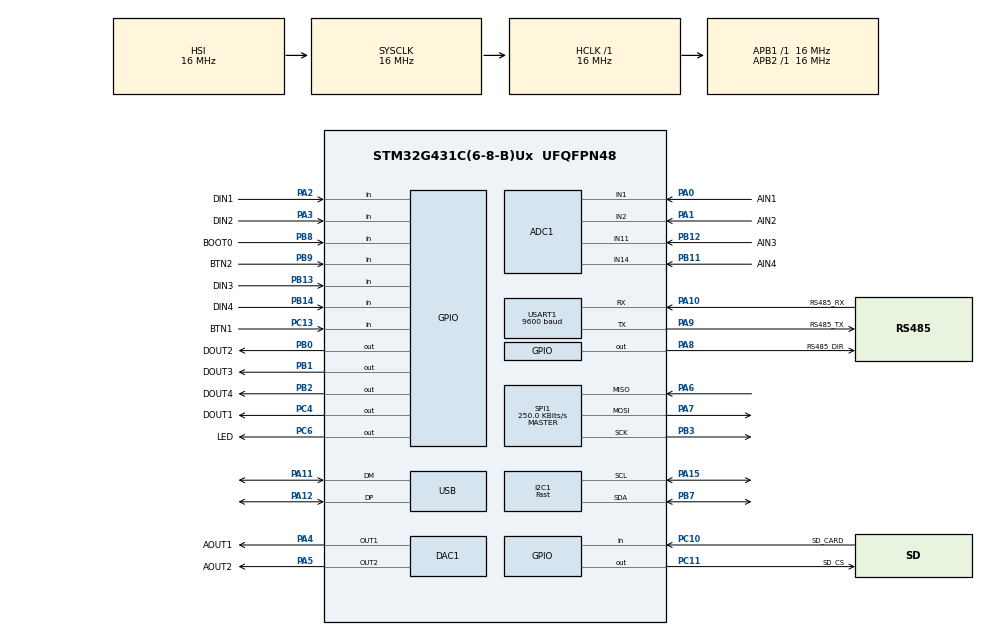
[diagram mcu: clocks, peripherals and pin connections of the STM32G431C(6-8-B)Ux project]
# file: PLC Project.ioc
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ADC1.Channel-0\#ChannelRegularConversion=ADC_CHANNEL_1
ADC1.NbrOfConversionFlag=1
ADC1.OffsetNumber-0\#ChannelRegularConversion=ADC_OFFSET_NONE
ADC1.Rank-0\#ChannelRegularConversion=1
ADC1.SamplingTime-0\#ChannelRegularConversion=ADC_SAMPLETIME_2CYCLES_5
ADC1.master=1
DAC1.DAC_Channel-DAC_OUT2=DAC_CHANNEL_2
Dma.Request0=USART1_RX
Dma.Request1=USART1_TX
Dma.USART1_RX.0.Direction=DMA_PERIPH_TO_MEMORY
Dma.USART1_RX.0.EventEnable=DISABLE
Dma.USART1_RX.0.Instance=DMA1_Channel1
Dma.USART1_RX.0.MemDataAlignment=DMA_MDATAALIGN_BYTE
Dma.USART1_RX.0.MemInc=DMA_MINC_ENABLE
Dma.USART1_RX.0.Mode=DMA_NORMAL
Dma.USART1_RX.0.PeriphDataAlignment=DMA_PDATAALIGN_BYTE
Dma.USART1_RX.0.PeriphInc=DMA_PINC_DISABLE
Dma.USART1_RX.0.Polarity=HAL_DMAMUX_REQ_GEN_RISING
Dma.USART1_RX.0.Priority=DMA_PRIORITY_LOW
Dma.USART1_RX.0.RequestNumber=1
Dma.USART1_RX.0.SignalID=NONE
Dma.USART1_RX.0.SyncEnable=DISABLE
Dma.USART1_RX.0.SyncPolarity=HAL_DMAMUX_SYNC_NO_EVENT
Dma.USART1_RX.0.SyncRequestNumber=1
Dma.USART1_RX.0.SyncSignalID=NONE
Dma.USART1_TX.1.Direction=DMA_MEMORY_TO_PERIPH
Dma.USART1_TX.1.EventEnable=DISABLE
Dma.USART1_TX.1.Instance=DMA1_Channel2
Dma.USART1_TX.1.MemDataAlignment=DMA_MDATAALIGN_BYTE
Dma.USART1_TX.1.MemInc=DMA_MINC_ENABLE
Dma.USART1_TX.1.Mode=DMA_NORMAL
Dma.USART1_TX.1.PeriphDataAlignment=DMA_PDATAALIGN_BYTE
Dma.USART1_TX.1.PeriphInc=DMA_PINC_DISABLE
Dma.USART1_TX.1.Polarity=HAL_DMAMUX_REQ_GEN_RISING
Dma.USART1_TX.1.Priority=DMA_PRIORITY_LOW
Dma.USART1_TX.1.RequestNumber=1
Dma.USART1_TX.1.SignalID=NONE
Dma.USART1_TX.1.SyncEnable=DISABLE
Dma.USART1_TX.1.SyncPolarity=HAL_DMAMUX_SYNC_NO_EVENT
Dma.USART1_TX.1.SyncRequestNumber=1
Dma.USART1_TX.1.SyncSignalID=NONE
FATFS._MAX_LFN=255
FATFS._USE_LFN=1
I2C1.CustomTiming=Disabled
I2C1.I2C_Speed_Mode=I2C_Fast
I2C1.Timing=0x00300617
Mcu.Family=STM32G4
Mcu.Name=STM32G431C(6-8-B)Ux
Mcu.Package=UFQFPN48
NVIC.DMA1_Channel1_IRQn=true\:0\:0\:false\:false\:true\:false\:true\:true
NVIC.DMA1_Channel2_IRQn=true\:0\:0\:false\:false\:true\:false\:true\:true
NVIC.PriorityGroup=NVIC_PRIORITYGROUP_4
NVIC.USART1_IRQn=true\:0\:0\:false\:false\:true\:true\:true\:true
NVIC.USB_LP_IRQn=true\:0\:0\:false\:false\:true\:false\:true\:true
PA0.GPIO_Label=AIN1
PA0.Mode=IN1-Single-Ended
PA0.Signal=ADC1_IN1
PA1.GPIO_Label=AIN2
PA1.Mode=IN2-Single-Ended
PA1.Signal=ADC1_IN2
PA10.GPIO_Label=RS485_RX
PA10.Mode=Asynchronous
PA10.Signal=USART1_RX
PA11.Mode=Device
PA11.Signal=USB_DM
PA12.Mode=Device
PA12.Signal=USB_DP
PA15.Mode=I2C
PA15.Signal=I2C1_SCL
PA2.GPIO_Label=DIN1
PA2.GPIO_PuPd=GPIO_NOPULL
PA2.Signal=GPIO_Input
PA3.GPIO_Label=DIN2
PA3.GPIO_PuPd=GPIO_NOPULL
PA3.Signal=GPIO_Input
PA4.GPIO_Label=AOUT1
PA4.Signal=COMP_DAC11_group
PA5.GPIO_Label=AOUT2
PA5.Signal=COMP_DAC12_group
PA6.Mode=Full_Duplex_Master
PA6.Signal=SPI1_MISO
PA7.Mode=Full_Duplex_Master
PA7.Signal=SPI1_MOSI
PA8.GPIO_Label=RS485_DIR
PA8.Signal=GPIO_Output
PA9.GPIO_Label=RS485_TX
PA9.Mode=Asynchronous
PA9.Signal=USART1_TX
PB0.GPIO_Label=DOUT2
PB0.Signal=GPIO_Output
PB1.GPIO_Label=DOUT3
PB1.Signal=GPIO_Output
PB11.GPIO_Label=AIN4
PB11.Mode=IN14-Single-Ended
PB11.Signal=ADC1_IN14
PB12.GPIO_Label=AIN3
PB12.Mode=IN11-Single-Ended
PB12.Signal=ADC1_IN11
PB13.GPIO_Label=DIN3
PB13.GPIO_PuPd=GPIO_NOPULL
PB13.Signal=GPIO_Input
PB14.GPIO_Label=DIN4
PB14.GPIO_PuPd=GPIO_NOPULL
PB14.Signal=GPIO_Input
PB2.GPIO_Label=DOUT4
PB2.Signal=GPIO_Output
PB3.Mode=Full_Duplex_Master
PB3.Signal=SPI1_SCK
PB7.Mode=I2C
PB7.Signal=I2C1_SDA
PB8-BOOT0.GPIO_Label=BOOT0
PB8-BOOT0.Signal=GPIO_Input
PB9.GPIO_Label=BTN2
PB9.GPIO_PuPd=GPIO_PULLDOWN
PB9.Signal=GPIO_Input
PC10.GPIO_Label=SD_CARD
PC10.GPIO_PuPd=GPIO_PULLUP
PC10.Signal=GPIO_Input
PC11.GPIO_Label=SD_CS
PC11.Signal=GPIO_Output
PC13.GPIO_Label=BTN1
PC13.GPIO_PuPd=GPIO_PULLDOWN
PC13.Signal=GPIO_Input
PC4.GPIO_Label=DOUT1
PC4.Signal=GPIO_Output
PC6.GPIO_Label=LED
PC6.Signal=GPIO_Output
ProjectManager.HeapSize=0x200
ProjectManager.StackSize=0x400
ProjectManager.TargetToolchain=STM32CubeIDE
RCC.AHBFreq_Value=16000000
RCC.APB1Freq_Value=16000000
RCC.APB1TimFreq_Value=16000000
RCC.APB2Freq_Value=16000000
RCC.APB2TimFreq_Value=16000000
RCC.CortexFreq_Value=16000000
RCC.EXTERNAL_CLOCK_VALUE=12288000
RCC.HCLKFreq_Value=16000000
RCC.HSE_VALUE=8000000
RCC.HSI48_VALUE=48000000
RCC.HSI_VALUE=16000000
RCC.LSE_VALUE=32768
RCC.PLLN=12
RCC.PLLQ=RCC_PLLQ_DIV4
RCC.SYSCLKFreq_VALUE=16000000
RCC.USBFreq_Value=48000000
RCC.VCOOutputFreq_Value=192000000
SH.COMP_DAC11_group.0=DAC1_OUT1,DAC_OUT1
SH.COMP_DAC12_group.0=DAC1_OUT2,DAC_OUT2
SPI1.BaudRatePrescaler=SPI_BAUDRATEPRESCALER_64
SPI1.CalculateBaudRate=250.0 KBits/s
SPI1.DataSize=SPI_DATASIZE_8BIT
SPI1.Direction=SPI_DIRECTION_2LINES
SPI1.Mode=SPI_MODE_MASTER
SPI1.VirtualType=VM_MASTER
USART1.BaudRate=9600
USART1.StopBits=STOPBITS_2
USART1.VirtualMode-Asynchronous=VM_ASYNC
USB_DEVICE.CLASS_NAME_FS=CDC
USB_DEVICE.VirtualMode=Cdc
USB_DEVICE.VirtualModeFS=Cdc_FS
VP_FATFS_VS_Generic.Mode=User_defined
VP_SYS_VS_DBSignals.Mode=DisableDeadBatterySignals
VP_USB_DEVICE_VS_USB_DEVICE_CDC_FS.Mode=CDC_FS
board=custom

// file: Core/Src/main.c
/* USER CODE BEGIN Header */
/**
  ******************************************************************************
  * @file           : main.c
  * @brief          : Main program body
  ******************************************************************************
  * @attention
  *
  * Copyright (c) 2025 STMicroelectronics.
  * All rights reserved.
  *
  * This software is licensed under terms that can be found in the LICENSE file
  * in the root directory of this software component.
  * If no LICENSE file comes with this software, it is provided AS-IS.
  *
  ******************************************************************************
  */
/* USER CODE END Header */
#include "main.h"
#include "app_fatfs.h"
#include "usb_device.h"

/* USER CODE BEGIN Includes */
#include <stdio.h>
#include "rtc/rtc_ds3231.h"
#include "automation/automation.h"
#include "rs485/rs485.h"
#include "i2c/display.h"
#include "i2c/i2c.h"
#include "i2c/ina226.h"
#include "i2c/bmp280.h"
#include "sd/sd.h"
#include "io/io_modbus_slaves.h"
#include "io/io_emergency.h"
#include "i2c/eeprom_utils.h"
#include "splash_screens/splash_boot.h"
//#include "sensors/dht11.h"
/* USER CODE END Includes */

ADC_HandleTypeDef hadc1;

DAC_HandleTypeDef hdac1;

I2C_HandleTypeDef hi2c1;

SPI_HandleTypeDef hspi1;

UART_HandleTypeDef huart1;
DMA_HandleTypeDef hdma_usart1_rx;
DMA_HandleTypeDef hdma_usart1_tx;

void SystemClock_Config(void);
static void MX_GPIO_Init(void);
static void MX_DMA_Init(void);
static void MX_I2C1_Init(void);
static void MX_USART1_UART_Init(void);
static void MX_ADC1_Init(void);
static void MX_DAC1_Init(void);
static void MX_SPI1_Init(void);
/* USER CODE BEGIN PFP */

void SPI_ReInit(void) {
	MX_SPI1_Init();
}

/* USER CODE END PFP */

int main(void)
{

  /* MCU Configuration--------------------------------------------------------*/

  /* Reset of all peripherals, Initializes the Flash interface and the Systick. */
  HAL_Init();

  /* USER CODE BEGIN Init */

  // Add Channels
// COILS: Digital R/W: for this controller, all digital outputs
// DISCRETE INPUTS: Digital R: for this controller, all digital inputs
// HOLDING REGISTERS: Analogue R/W: for this controller, all analogue outputs
// INPUT REGISTERS: Analogue R: for this controller, all analogue inputs
  //io_coil_add_channel(GPIOC, GPIO_PIN_6);

  /* USER CODE END Init */

  /* Configure the system clock */
  SystemClock_Config();

  /* Initialize all configured peripherals */
  MX_GPIO_Init();
  MX_DMA_Init();
  MX_I2C1_Init();
  MX_USART1_UART_Init();
  MX_ADC1_Init();
  MX_DAC1_Init();
  MX_USB_Device_Init();
  MX_SPI1_Init();
  if (MX_FATFS_Init() != APP_OK) {
    Error_Handler();
  }
  /* USER CODE BEGIN 2 */
  // SETUP ---------------------------------------------------------------------------------------//
    // Splash Screen
	display_Setup();
	// Display after checking for factory reset

	// Config
	#define DEBOUNCE_DELAY 50 // milliseconds
	#define FACTORY_RESET_HOLD_TIME 5000 // milliseconds
	#define FACTORY_RESET_CHECK_INTERVAL 50 // milliseconds

	// Initialise I2C in case of factory reset
	I2C_Setup(&hi2c1);

	// Initialise SD if installed
	//HAL_Delay(2000);
	SD_Detect();
	SD_Log("System booting");

	// Check for Factory Reset
	GPIO_PinState factoryResetBtn = HAL_GPIO_ReadPin(GPIOB, BTN2_Pin);
	if (factoryResetBtn == GPIO_PIN_SET) {
		uint32_t heldTime = 0;

		SD_Log("Factory reset initiated by user");
		display_FactoryResetPage(0); // main

		while (1) {
			if (HAL_GPIO_ReadPin(GPIOB, BTN2_Pin) == GPIO_PIN_SET) {
				HAL_Delay(FACTORY_RESET_CHECK_INTERVAL);
				heldTime += FACTORY_RESET_CHECK_INTERVAL;

				if (heldTime >= FACTORY_RESET_HOLD_TIME) {
					// Button held for x ms, perform factory reset, and then continue as usual with boot
					if(!automation_factory_reset()) {
						// Reset Failed, display fail screen
						display_FactoryResetPage(2); // failure
						SD_Log("Factory reset failed");
						HAL_Delay(4000);

						// Continue with boot...
						break;
					} else {
						// Display success screen
						display_FactoryResetPage(1); // successful
						SD_Log("Factory reset successful");
						HAL_Delay(4000);

						// Continue with boot
						break;
					}
				}
			} else {
				display_FactoryResetPage(3); // cancelled
				SD_Log("Factory reset aborted by user");
				HAL_Delay(4000);
				// Continue with boot
				break;
			}

		}
	}

	splash_screen_boot_play(GPIOC, BTN1_Pin);

  	// Communication
    modbus_Setup(0x01); // Set modbus slave address
  	RS485_Setup(GPIOA, RS485_DIR_Pin); // changed from PA4 to PA8 to not interfere with DAC1 [RS485_Setup must be called AFTER modbus_setup]

  	// Initialise Devices
  	INA226_Init(&hi2c1);

  	// Setup Coils [HARDWARE]
  	gpio_config coil_0 = {GPIOC, DOUT1_Pin};
	gpio_config coil_1 = {GPIOB, DOUT2_Pin};
	gpio_config coil_2 = {GPIOB, DOUT3_Pin};
	gpio_config coil_3 = {GPIOB, DOUT4_Pin};
  	io_coil_add_channel(hardware_coil_write_func, &coil_0);
  	io_coil_add_channel(hardware_coil_write_func, &coil_1);
  	io_coil_add_channel(hardware_coil_write_func, &coil_2);
  	io_coil_add_channel(hardware_coil_write_func, &coil_3);

  	// Setup Discrete Inputs [HARDWARE]
  	gpio_config discrete_in_0 = {GPIOA, GPIO_PIN_2}; // PA2
  	gpio_config discrete_in_1 = {GPIOA, GPIO_PIN_3}; // PA3
  	gpio_config discrete_in_2 = {GPIOB, GPIO_PIN_13}; // PB13
  	gpio_config discrete_in_3 = {GPIOB, GPIO_PIN_14}; // PB14
  	io_discrete_in_add_channel(hardware_discrete_in_read_func, &discrete_in_0);
  	io_discrete_in_add_channel(hardware_discrete_in_read_func, &discrete_in_1);
  	io_discrete_in_add_channel(hardware_discrete_in_read_func, &discrete_in_2);
  	io_discrete_in_add_channel(hardware_discrete_in_read_func, &discrete_in_3);

  	// Setup Holding Registers [HARDWARE]
  	io_holding_reg_add_channel(dac_write_func, DAC_CHANNEL_1, IO_HOLDING_REG_VOLTAGE);
  	io_holding_reg_add_channel(dac_write_func, DAC_CHANNEL_2, IO_HOLDING_REG_VOLTAGE);

  	// Setup Input register
  	io_input_reg_add_channel(adc_read_func, ADC_CHANNEL_1, IO_INPUT_REG_VOLTAGE);
  	io_input_reg_add_channel(adc_read_func, ADC_CHANNEL_2, IO_INPUT_REG_VOLTAGE);
  	io_input_reg_add_channel(adc_read_func, ADC_CHANNEL_11, IO_INPUT_REG_VOLTAGE);
  	io_input_reg_add_channel(adc_read_func, ADC_CHANNEL_14, IO_INPUT_REG_VOLTAGE);

  	// Hardcoded Status input registers (do not remove)
  	io_input_reg_add_channel(INA226_ReadBusVoltageRaw, &hi2c1, IO_INPUT_REG_VOLTAGE);
  	io_input_reg_add_channel(INA226_ReadCurrentRaw, &hi2c1, IO_INPUT_REG_VOLTAGE);

  	// Initialise Automation
  	// This MUST be done AFTER the physical channels have been added ^^ or else the stored analogue modes (voltage/current) cannot be set
  	automation_Init();

  	// TODO: DEMO ONLY - BMP280
	//BMP280_Init();
	//io_input_reg_add_channel(BMP280_Read_Temp_Func, NULL, IO_INPUT_REG_I2C);

  	// TODO: DEMO ONLY - MODBUS SLAVE
  	/*
  	// Setup the SHT30 as a Modbus slave
  	io_modbus_slave_add_channel(0x1E, MODBUS_REGISTER_INPUT, 0); // SHT30 slave, humidity
  	io_modbus_slave_add_channel(0x1E, MODBUS_REGISTER_INPUT, 1); // SHT30 slave, temperature
  	// Add these input register (buffers) as input registers
  	io_input_reg_add_channel(io_modbus_slave_read, 0); // modbus slave channel 0 = humidity
  	io_input_reg_add_channel(io_modbus_slave_read, 1); // modbus slave channel 1 = temperature
  	// Note, these values need to be / 10 to get actual value.
	*/

  	// Flash on-board LED
  	HAL_GPIO_WritePin(GPIOC, LED_Pin, GPIO_PIN_SET);
  	HAL_Delay(60);
  	HAL_GPIO_WritePin(GPIOC, LED_Pin, GPIO_PIN_RESET);
  	HAL_Delay(60);
  	HAL_GPIO_WritePin(GPIOC, LED_Pin, GPIO_PIN_SET);
  	HAL_Delay(60);
	HAL_GPIO_WritePin(GPIOC, LED_Pin, GPIO_PIN_RESET);

	HAL_Delay(2500);

	SD_Log("System boot complete");

	// TEMP: ->> needs to be in a timer to update every few seconds for eg TODO
	display_StatusPage();

  // ---------------------------------------------------------------------------------------------//
  /* USER CODE END 2 */

  /* Infinite loop */
  /* USER CODE BEGIN WHILE */

	uint8_t btn1status = 0;
	uint32_t lastButtonPress = 0;

	uint32_t loopCounter = 0;
	uint32_t lastTimeTick100ms = HAL_GetTick();
	uint32_t lastTimeTick1000ms = HAL_GetTick();
	uint32_t sdSecondCount = 0;
	bool displayingSDStatus = false;

	bool boot0_pressed = false;

  while (1)
  {
	  loopCounter++;

	  /* CHECK FOR EMERGENCY STOP BEGIN*/
	  if (emergencyStop_check()) {
		  break; // Do not continue with main loop.
	  }
	  /* CHECK FOR EMERGENCY STOP END*/

	  /* RS485 Circular Frame Handling BEGIN*/
	  RS485_ProcessPendingFrames();
	  RS485_TransmitPendingFrames();
	  /* RS485 Circular Frame Handling END*/

	  /* MODBUS SLAVE POLLING (US AS MASTER) BEGIN*/
	  io_modbus_slave_poll_all();
	  modbus_master_poll_timeout();
	  /* MODBUS SLAVE POLLING (US AS MASTER) END*/

	  /* AUTOMATION BEGIN*/
	  automation_Tick();
	  /* AUTOMATION END*/

	  /* CHECK INPUTS BEGIN*/
	  // Check display button
	  GPIO_PinState btn1 = HAL_GPIO_ReadPin(GPIOC, BTN1_Pin);
	  if (btn1 == GPIO_PIN_SET) {
		  if (btn1status == 0 && (HAL_GetTick() - lastButtonPress) > DEBOUNCE_DELAY) {
			  display_BtnPress();
			  lastButtonPress = HAL_GetTick();
			  btn1status = 1;
		  }
	  } else if (btn1 == GPIO_PIN_RESET) {
		  btn1status = 0;
	  }
	  /* CHECK INPUTS END*/

	  /* SCHEDULE BEGIN*/
	  // Every 100ms
	  if ((HAL_GetTick() - lastTimeTick100ms) >= 100 || (HAL_GetTick() < lastTimeTick100ms)) { // wraparound-safe comparison
		  lastTimeTick100ms = HAL_GetTick();

		  // Check if BOOT0 button pressed
		  GPIO_PinState boot0 = HAL_GPIO_ReadPin(GPIOB, BOOT0_Pin);
		  if (boot0 == GPIO_PIN_SET) {
			  display_dfu();
			  boot0_pressed = true;
		  } else if (boot0_pressed) {
			  display_StatusPage();
			  boot0_pressed = false;
		  }
	  }

	  // Every second
	  if ((HAL_GetTick() - lastTimeTick1000ms) >= 1000 || (HAL_GetTick() < lastTimeTick1000ms)) { // wraparound-safe comparison
		  lastTimeTick1000ms = HAL_GetTick();

		  loopCounter = 0;

		  if (displayingSDStatus) {
			  //usb_serial_println("displayingSDstatus");
			  if (sdSecondCount >= 2) { // show for 2s
				  displayingSDStatus = false;
				  sdSecondCount = 0;

				  // Update display if boot0 is not pressed
				  if (boot0_pressed == false) {
					  display_StatusPage();
				  }
			  } else {
				  sdSecondCount++;
			  }
		  } else {
			  //usb_serial_println("sd status triggered 1");
			  // Check for SD card insertion/removal
			  SD_Status sd_status = SD_Detect(); // Will automatically mount/unmount
			  if (sd_status == SD_INSERTED_MOUNT_FAILURE || sd_status == SD_INSERTED_MOUNT_SUCCESS || sd_status == SD_REMOVED) {
				  //usb_serial_println("sd status triggered 2");
				  display_sd_status(sd_status);
				  displayingSDStatus = true;
			  } else {
				  // Update display if boot0 is not pressed
				  if (boot0_pressed == false) {
					  display_StatusPage();
				  }
			  }
		  }
	  }

	  // Every 10 seconds since pressing display button, go to main page
	  if ((HAL_GetTick() - lastButtonPress) >= 10000|| (HAL_GetTick() < lastButtonPress)) { // wraparound-safe comparison
		  if (!displayingSDStatus) {
			  display_setPage(0);
		  }
	  }

	  /* SCHEDULE END*/

    /* USER CODE END WHILE */

    /* USER CODE BEGIN 3 */

	  /*HAL_GPIO_WritePin(GPIOC, LED_Pin, GPIO_PIN_SET);
	  HAL_Delay(500);
	  HAL_GPIO_WritePin(GPIOC, LED_Pin, GPIO_PIN_RESET);
	  HAL_Delay(500);
		*/

	  // Get current time
	  /*RTC_Time currentTime;
	  char timeStr[16];
	  if (DS3231_ReadTime(&currentTime) == HAL_OK) {
		  snprintf(timeStr, sizeof(timeStr), "%02d:%02d:%02d", currentTime.hours, currentTime.minutes, currentTime.seconds);
	  } else {
		  snprintf(timeStr, sizeof(timeStr), "Error!");
	  }

	  // Clear display
	  ssd1306_Fill(Black);

	  // Set cursor position
	  ssd1306_SetCursor(10, 25);  // adjust x, y as needed

	  // Write string to buffer
	  ssd1306_WriteString(timeStr, Font_11x18, White);

	  // Update display with buffer content
	  ssd1306_UpdateScreen();

	  HAL_Delay(200);*/

  }
  /* USER CODE END 3 */
}

void SystemClock_Config(void)
{
  RCC_OscInitTypeDef RCC_OscInitStruct = {0};
  RCC_ClkInitTypeDef RCC_ClkInitStruct = {0};

  /** Configure the main internal regulator output voltage
  */
  HAL_PWREx_ControlVoltageScaling(PWR_REGULATOR_VOLTAGE_SCALE1);

  /** Initializes the RCC Oscillators according to the specified parameters
  * in the RCC_OscInitTypeDef structure.
  */
  RCC_OscInitStruct.OscillatorType = RCC_OSCILLATORTYPE_HSI;
  RCC_OscInitStruct.HSIState = RCC_HSI_ON;
  RCC_OscInitStruct.HSICalibrationValue = RCC_HSICALIBRATION_DEFAULT;
  RCC_OscInitStruct.PLL.PLLState = RCC_PLL_ON;
  RCC_OscInitStruct.PLL.PLLSource = RCC_PLLSOURCE_HSI;
  RCC_OscInitStruct.PLL.PLLM = RCC_PLLM_DIV1;
  RCC_OscInitStruct.PLL.PLLN = 12;
  RCC_OscInitStruct.PLL.PLLP = RCC_PLLP_DIV2;
  RCC_OscInitStruct.PLL.PLLQ = RCC_PLLQ_DIV4;
  RCC_OscInitStruct.PLL.PLLR = RCC_PLLR_DIV2;
  if (HAL_RCC_OscConfig(&RCC_OscInitStruct) != HAL_OK)
  {
    Error_Handler();
  }

  /** Initializes the CPU, AHB and APB buses clocks
  */
  RCC_ClkInitStruct.ClockType = RCC_CLOCKTYPE_HCLK|RCC_CLOCKTYPE_SYSCLK
                              |RCC_CLOCKTYPE_PCLK1|RCC_CLOCKTYPE_PCLK2;
  RCC_ClkInitStruct.SYSCLKSource = RCC_SYSCLKSOURCE_HSI;
  RCC_ClkInitStruct.AHBCLKDivider = RCC_SYSCLK_DIV1;
  RCC_ClkInitStruct.APB1CLKDivider = RCC_HCLK_DIV1;
  RCC_ClkInitStruct.APB2CLKDivider = RCC_HCLK_DIV1;

  if (HAL_RCC_ClockConfig(&RCC_ClkInitStruct, FLASH_LATENCY_0) != HAL_OK)
  {
    Error_Handler();
  }
}

static void MX_ADC1_Init(void)
{

  ADC_MultiModeTypeDef multimode = {0};
  ADC_ChannelConfTypeDef sConfig = {0};

  /** Common config
  */
  hadc1.Instance = ADC1;
  hadc1.Init.ClockPrescaler = ADC_CLOCK_SYNC_PCLK_DIV2;
  hadc1.Init.Resolution = ADC_RESOLUTION_12B;
  hadc1.Init.DataAlign = ADC_DATAALIGN_RIGHT;
  hadc1.Init.GainCompensation = 0;
  hadc1.Init.ScanConvMode = ADC_SCAN_DISABLE;
  hadc1.Init.EOCSelection = ADC_EOC_SINGLE_CONV;
  hadc1.Init.LowPowerAutoWait = DISABLE;
  hadc1.Init.ContinuousConvMode = DISABLE;
  hadc1.Init.NbrOfConversion = 1;
  hadc1.Init.DiscontinuousConvMode = DISABLE;
  hadc1.Init.ExternalTrigConv = ADC_SOFTWARE_START;
  hadc1.Init.ExternalTrigConvEdge = ADC_EXTERNALTRIGCONVEDGE_NONE;
  hadc1.Init.DMAContinuousRequests = DISABLE;
  hadc1.Init.Overrun = ADC_OVR_DATA_PRESERVED;
  hadc1.Init.OversamplingMode = DISABLE;
  if (HAL_ADC_Init(&hadc1) != HAL_OK)
  {
    Error_Handler();
  }

  /** Configure the ADC multi-mode
  */
  multimode.Mode = ADC_MODE_INDEPENDENT;
  if (HAL_ADCEx_MultiModeConfigChannel(&hadc1, &multimode) != HAL_OK)
  {
    Error_Handler();
  }

  /** Configure Regular Channel
  */
  sConfig.Channel = ADC_CHANNEL_1;
  sConfig.Rank = ADC_REGULAR_RANK_1;
  sConfig.SamplingTime = ADC_SAMPLETIME_2CYCLES_5;
  sConfig.SingleDiff = ADC_SINGLE_ENDED;
  sConfig.OffsetNumber = ADC_OFFSET_NONE;
  sConfig.Offset = 0;
  if (HAL_ADC_ConfigChannel(&hadc1, &sConfig) != HAL_OK)
  {
    Error_Handler();
  }

}

static void MX_DAC1_Init(void)
{

  DAC_ChannelConfTypeDef sConfig = {0};

  /** DAC Initialization
  */
  hdac1.Instance = DAC1;
  if (HAL_DAC_Init(&hdac1) != HAL_OK)
  {
    Error_Handler();
  }

  /** DAC channel OUT1 config
  */
  sConfig.DAC_HighFrequency = DAC_HIGH_FREQUENCY_INTERFACE_MODE_AUTOMATIC;
  sConfig.DAC_DMADoubleDataMode = DISABLE;
  sConfig.DAC_SignedFormat = DISABLE;
  sConfig.DAC_SampleAndHold = DAC_SAMPLEANDHOLD_DISABLE;
  sConfig.DAC_Trigger = DAC_TRIGGER_NONE;
  sConfig.DAC_Trigger2 = DAC_TRIGGER_NONE;
  sConfig.DAC_OutputBuffer = DAC_OUTPUTBUFFER_ENABLE;
  sConfig.DAC_ConnectOnChipPeripheral = DAC_CHIPCONNECT_EXTERNAL;
  sConfig.DAC_UserTrimming = DAC_TRIMMING_FACTORY;
  if (HAL_DAC_ConfigChannel(&hdac1, &sConfig, DAC_CHANNEL_1) != HAL_OK)
  {
    Error_Handler();
  }

  /** DAC channel OUT2 config
  */
  if (HAL_DAC_ConfigChannel(&hdac1, &sConfig, DAC_CHANNEL_2) != HAL_OK)
  {
    Error_Handler();
  }

}

static void MX_I2C1_Init(void)
{

  hi2c1.Instance = I2C1;
  hi2c1.Init.Timing = 0x00300617;
  hi2c1.Init.OwnAddress1 = 0;
  hi2c1.Init.AddressingMode = I2C_ADDRESSINGMODE_7BIT;
  hi2c1.Init.DualAddressMode = I2C_DUALADDRESS_DISABLE;
  hi2c1.Init.OwnAddress2 = 0;
  hi2c1.Init.OwnAddress2Masks = I2C_OA2_NOMASK;
  hi2c1.Init.GeneralCallMode = I2C_GENERALCALL_DISABLE;
  hi2c1.Init.NoStretchMode = I2C_NOSTRETCH_DISABLE;
  if (HAL_I2C_Init(&hi2c1) != HAL_OK)
  {
    Error_Handler();
  }

  /** Configure Analogue filter
  */
  if (HAL_I2CEx_ConfigAnalogFilter(&hi2c1, I2C_ANALOGFILTER_ENABLE) != HAL_OK)
  {
    Error_Handler();
  }

  /** Configure Digital filter
  */
  if (HAL_I2CEx_ConfigDigitalFilter(&hi2c1, 0) != HAL_OK)
  {
    Error_Handler();
  }

}

static void MX_SPI1_Init(void)
{

  /* SPI1 parameter configuration*/
  hspi1.Instance = SPI1;
  hspi1.Init.Mode = SPI_MODE_MASTER;
  hspi1.Init.Direction = SPI_DIRECTION_2LINES;
  hspi1.Init.DataSize = SPI_DATASIZE_8BIT;
  hspi1.Init.CLKPolarity = SPI_POLARITY_LOW;
  hspi1.Init.CLKPhase = SPI_PHASE_1EDGE;
  hspi1.Init.NSS = SPI_NSS_SOFT;
  hspi1.Init.BaudRatePrescaler = SPI_BAUDRATEPRESCALER_64;
  hspi1.Init.FirstBit = SPI_FIRSTBIT_MSB;
  hspi1.Init.TIMode = SPI_TIMODE_DISABLE;
  hspi1.Init.CRCCalculation = SPI_CRCCALCULATION_DISABLE;
  hspi1.Init.CRCPolynomial = 7;
  hspi1.Init.CRCLength = SPI_CRC_LENGTH_DATASIZE;
  hspi1.Init.NSSPMode = SPI_NSS_PULSE_ENABLE;
  if (HAL_SPI_Init(&hspi1) != HAL_OK)
  {
    Error_Handler();
  }

}

static void MX_USART1_UART_Init(void)
{

  huart1.Instance = USART1;
  huart1.Init.BaudRate = 9600;
  huart1.Init.WordLength = UART_WORDLENGTH_8B;
  huart1.Init.StopBits = UART_STOPBITS_2;
  huart1.Init.Parity = UART_PARITY_NONE;
  huart1.Init.Mode = UART_MODE_TX_RX;
  huart1.Init.HwFlowCtl = UART_HWCONTROL_NONE;
  huart1.Init.OverSampling = UART_OVERSAMPLING_16;
  huart1.Init.OneBitSampling = UART_ONE_BIT_SAMPLE_DISABLE;
  huart1.Init.ClockPrescaler = UART_PRESCALER_DIV1;
  huart1.AdvancedInit.AdvFeatureInit = UART_ADVFEATURE_NO_INIT;
  if (HAL_UART_Init(&huart1) != HAL_OK)
  {
    Error_Handler();
  }
  if (HAL_UARTEx_SetTxFifoThreshold(&huart1, UART_TXFIFO_THRESHOLD_1_8) != HAL_OK)
  {
    Error_Handler();
  }
  if (HAL_UARTEx_SetRxFifoThreshold(&huart1, UART_RXFIFO_THRESHOLD_1_8) != HAL_OK)
  {
    Error_Handler();
  }
  if (HAL_UARTEx_DisableFifoMode(&huart1) != HAL_OK)
  {
    Error_Handler();
  }

}

static void MX_DMA_Init(void)
{

  /* DMA controller clock enable */
  __HAL_RCC_DMAMUX1_CLK_ENABLE();
  __HAL_RCC_DMA1_CLK_ENABLE();

  /* DMA interrupt init */
  /* DMA1_Channel1_IRQn interrupt configuration */
  HAL_NVIC_SetPriority(DMA1_Channel1_IRQn, 0, 0);
  HAL_NVIC_EnableIRQ(DMA1_Channel1_IRQn);
  /* DMA1_Channel2_IRQn interrupt configuration */
  HAL_NVIC_SetPriority(DMA1_Channel2_IRQn, 0, 0);
  HAL_NVIC_EnableIRQ(DMA1_Channel2_IRQn);

}

static void MX_GPIO_Init(void)
{
  GPIO_InitTypeDef GPIO_InitStruct = {0};

  /* GPIO Ports Clock Enable */
  __HAL_RCC_GPIOC_CLK_ENABLE();
  __HAL_RCC_GPIOA_CLK_ENABLE();
  __HAL_RCC_GPIOB_CLK_ENABLE();

  /*Configure GPIO pin Output Level */
  HAL_GPIO_WritePin(GPIOC, DOUT1_Pin|LED_Pin|SD_CS_Pin, GPIO_PIN_RESET);

  /*Configure GPIO pin Output Level */
  HAL_GPIO_WritePin(GPIOB, DOUT2_Pin|DOUT3_Pin|DOUT4_Pin, GPIO_PIN_RESET);

  /*Configure GPIO pin Output Level */
  HAL_GPIO_WritePin(RS485_DIR_GPIO_Port, RS485_DIR_Pin, GPIO_PIN_RESET);

  /*Configure GPIO pin : BTN1_Pin */
  GPIO_InitStruct.Pin = BTN1_Pin;
  GPIO_InitStruct.Mode = GPIO_MODE_INPUT;
  GPIO_InitStruct.Pull = GPIO_PULLDOWN;
  HAL_GPIO_Init(BTN1_GPIO_Port, &GPIO_InitStruct);

  /*Configure GPIO pins : DIN1_Pin DIN2_Pin */
  GPIO_InitStruct.Pin = DIN1_Pin|DIN2_Pin;
  GPIO_InitStruct.Mode = GPIO_MODE_INPUT;
  GPIO_InitStruct.Pull = GPIO_NOPULL;
  HAL_GPIO_Init(GPIOA, &GPIO_InitStruct);

  /*Configure GPIO pins : DOUT1_Pin LED_Pin SD_CS_Pin */
  GPIO_InitStruct.Pin = DOUT1_Pin|LED_Pin|SD_CS_Pin;
  GPIO_InitStruct.Mode = GPIO_MODE_OUTPUT_PP;
  GPIO_InitStruct.Pull = GPIO_NOPULL;
  GPIO_InitStruct.Speed = GPIO_SPEED_FREQ_LOW;
  HAL_GPIO_Init(GPIOC, &GPIO_InitStruct);

  /*Configure GPIO pins : DOUT2_Pin DOUT3_Pin DOUT4_Pin */
  GPIO_InitStruct.Pin = DOUT2_Pin|DOUT3_Pin|DOUT4_Pin;
  GPIO_InitStruct.Mode = GPIO_MODE_OUTPUT_PP;
  GPIO_InitStruct.Pull = GPIO_NOPULL;
  GPIO_InitStruct.Speed = GPIO_SPEED_FREQ_LOW;
  HAL_GPIO_Init(GPIOB, &GPIO_InitStruct);

  /*Configure GPIO pins : DIN3_Pin DIN4_Pin BOOT0_Pin */
  GPIO_InitStruct.Pin = DIN3_Pin|DIN4_Pin|BOOT0_Pin;
  GPIO_InitStruct.Mode = GPIO_MODE_INPUT;
  GPIO_InitStruct.Pull = GPIO_NOPULL;
  HAL_GPIO_Init(GPIOB, &GPIO_InitStruct);

  /*Configure GPIO pin : RS485_DIR_Pin */
  GPIO_InitStruct.Pin = RS485_DIR_Pin;
  GPIO_InitStruct.Mode = GPIO_MODE_OUTPUT_PP;
  GPIO_InitStruct.Pull = GPIO_NOPULL;
  GPIO_InitStruct.Speed = GPIO_SPEED_FREQ_LOW;
  HAL_GPIO_Init(RS485_DIR_GPIO_Port, &GPIO_InitStruct);

  /*Configure GPIO pin : SD_CARD_Pin */
  GPIO_InitStruct.Pin = SD_CARD_Pin;
  GPIO_InitStruct.Mode = GPIO_MODE_INPUT;
  GPIO_InitStruct.Pull = GPIO_PULLUP;
  HAL_GPIO_Init(SD_CARD_GPIO_Port, &GPIO_InitStruct);

  /*Configure GPIO pin : BTN2_Pin */
  GPIO_InitStruct.Pin = BTN2_Pin;
  GPIO_InitStruct.Mode = GPIO_MODE_INPUT;
  GPIO_InitStruct.Pull = GPIO_PULLDOWN;
  HAL_GPIO_Init(BTN2_GPIO_Port, &GPIO_InitStruct);

}

void Error_Handler(void)
{
  __disable_irq();
  while (1)
  {
  }
}
